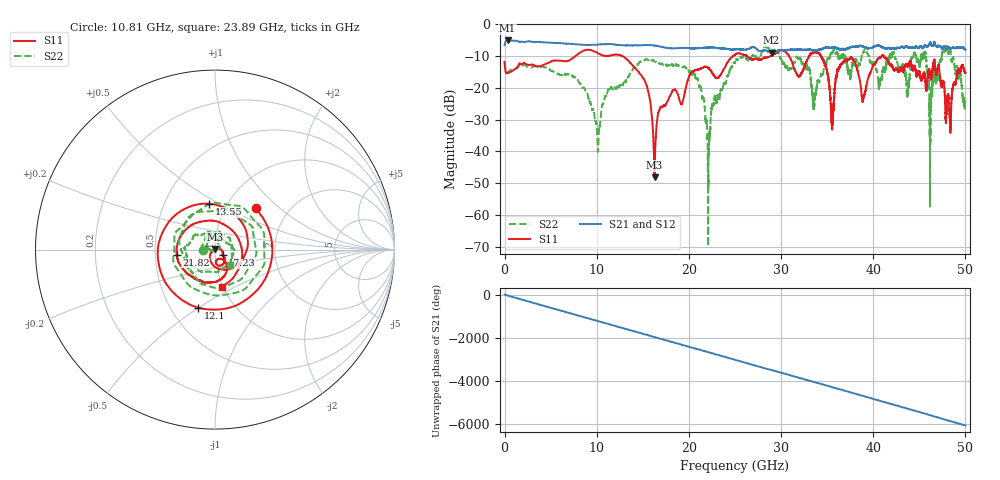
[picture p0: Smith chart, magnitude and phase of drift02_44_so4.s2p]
!Created with skrf (http://scikit-rf.org).
# Hz S RI R 50.0
!freq ReS11 ImS11 ReS21 ImS21 ReS12 ImS12 ReS22 ImS22
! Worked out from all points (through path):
!   10001 points, 300 kHz to 50 GHz, reference 50 ohm
!   highest |S21| = -5.04 dB at 325.3 MHz (marker M1); lowest = -8.9 dB at 28.98 GHz (marker M2)
!   group delay of S21, straight-line fit = 336 ps
!   lowest |S11| = -48.1 dB at 16.27 GHz (marker M3), VSWR 1.01, Z = 49.9 + j0.378 ohm
!   |S11| at or under -10 dB: start of sweep to 7.668 GHz; 12.81 GHz to 24.77 GHz (11.96 GHz wide, 63.6 % of centre); 41.13 GHz to end of sweep (the widest 3 of 10)
!   |S22| runs from -69.8 to -6.8 dB; largest |S21 - S12| = 0.032
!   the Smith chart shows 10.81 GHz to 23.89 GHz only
!   S11 on the Smith chart (normalised r, x): 10.81 GHz: 1.38, +0.70; 12.1 GHz: 0.68, -0.50; 13.55 GHz: 0.83, +0.45; 17.23 GHz: 1.09, -0.07; 21.82 GHz: 0.65, -0.04; 23.89 GHz: 0.98, -0.43
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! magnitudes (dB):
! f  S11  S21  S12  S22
! 300 kHz  -11.7  -6.5  -6.5  -11.7
! 325.3 MHz  -15.3  -5.0  -5.0  -15.1
! 8.335 GHz  -8.6  -6.4  -6.4  -19.1
! 10.11 GHz  -9.0  -6.3  -6.3  -38.9
! 10.81 GHz  -9.8  -6.2  -6.2  -23.7
! 12.1 GHz  -9.5  -6.4  -6.4  -20.3
! 13.55 GHz  -11.8  -6.6  -6.6  -15.9
! 16.27 GHz  -48.1  -6.6  -6.6  -11.7
! 16.67 GHz  -27.8  -6.8  -6.8  -12.2
! 17.23 GHz  -25.6  -7.2  -7.2  -12.8
! 21.82 GHz  -13.3  -7.3  -7.4  -30.3
! 23.89 GHz  -13.6  -7.6  -7.6  -18.4
! 25 GHz  -9.5  -7.8  -7.8  -12.0
! 28.98 GHz  -9.7  -8.9  -8.9  -8.0
! 33.34 GHz  -9.1  -8.0  -8.0  -20.4
! 35.55 GHz  -32.6  -7.3  -7.3  -9.2
! 36.78 GHz  -11.8  -7.8  -7.9  -9.7
! 41.67 GHz  -11.9  -7.3  -7.4  -12.3
! 45.5 GHz  -15.4  -6.9  -6.9  -9.5
! 46.26 GHz  -17.1  -6.2  -6.2  -26.1
! 48.12 GHz  -21.9  -7.2  -7.1  -8.9
! 50 GHz  -15.2  -7.9  -7.9  -23.2
